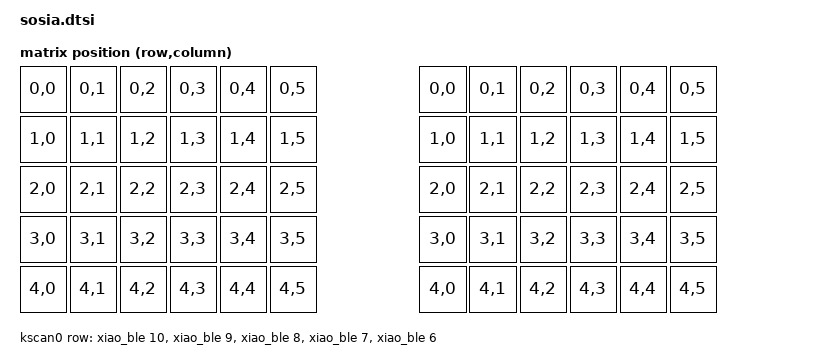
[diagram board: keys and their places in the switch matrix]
#include <dt-bindings/zmk/matrix_transform.h>

/ {
    chosen {
        zmk,kscan = &kscan0;
        zmk,matrix_transform = &default_transform;
    };

    default_transform: keymap_transform_0 {
        compatible = "zmk,matrix-transform";
        columns = <12>;
        rows = <5>;
// | SW1  | SW6  | SW11 | SW16 | SW21 | SW26 |                 | SW1  | SW6  | SW11 | SW16 | SW21 | SW26 |
// | SW2  | SW7  | SW12 | SW17 | SW22 | SW27 |                 | SW2  | SW7  | SW12 | SW17 | SW22 | SW27 | 
// | SW3  | SW8  | SW13 | SW18 | SW23 | SW28 |                 | SW3  | SW8  | SW13 | SW18 | SW23 | SW28 | 
// | SW4  | SW9  | SW14 | SW19 | SW24 | SW29 |                 | SW4  | SW9  | SW14 | SW19 | SW24 | SW29 | 
// | SW5  | SW10 | SW15 | SW20 | SW25 | SW30 |                 | SW5  | SW10 | SW15 | SW20 | SW25 | SW30 |
        map = <
RC(0,0) RC(0,1) RC(0,2) RC(0,3) RC(0,4) RC(0,5)                 RC(0,0) RC(0,1) RC(0,2) RC(0,3) RC(0,4) RC(0,5) 
RC(1,0) RC(1,1) RC(1,2) RC(1,3) RC(1,4) RC(1,5)                 RC(1,0) RC(1,1) RC(1,2) RC(1,3) RC(1,4) RC(1,5) 
RC(2,0) RC(2,1) RC(2,2) RC(2,3) RC(2,4) RC(2,5)                 RC(2,0) RC(2,1) RC(2,2) RC(2,3) RC(2,4) RC(2,5) 
RC(3,0) RC(3,1) RC(3,2) RC(3,3) RC(3,4) RC(3,5)                 RC(3,0) RC(3,1) RC(3,2) RC(3,3) RC(3,4) RC(3,5)
RC(4,0) RC(4,1) RC(4,2) RC(4,3) RC(4,4) RC(4,5)                 RC(4,0) RC(4,1) RC(4,2) RC(4,3) RC(4,4) RC(4,5)  
        >;
    };

    kscan0: kscan {
        compatible = "zmk,kscan-gpio-matrix";
        label = "KSCAN";

        diode-direction = "col2row";
        row-gpios
            = <&xiao_ble 10 (GPIO_ACTIVE_HIGH | GPIO_PULL_DOWN)>
            , <&xiao_ble 9  (GPIO_ACTIVE_HIGH | GPIO_PULL_DOWN)>
            , <&xiao_ble 8  (GPIO_ACTIVE_HIGH | GPIO_PULL_DOWN)>
            , <&xiao_ble 7  (GPIO_ACTIVE_HIGH | GPIO_PULL_DOWN)>
            , <&xiao_ble 6  (GPIO_ACTIVE_HIGH | GPIO_PULL_DOWN)>
            ;

    };
};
